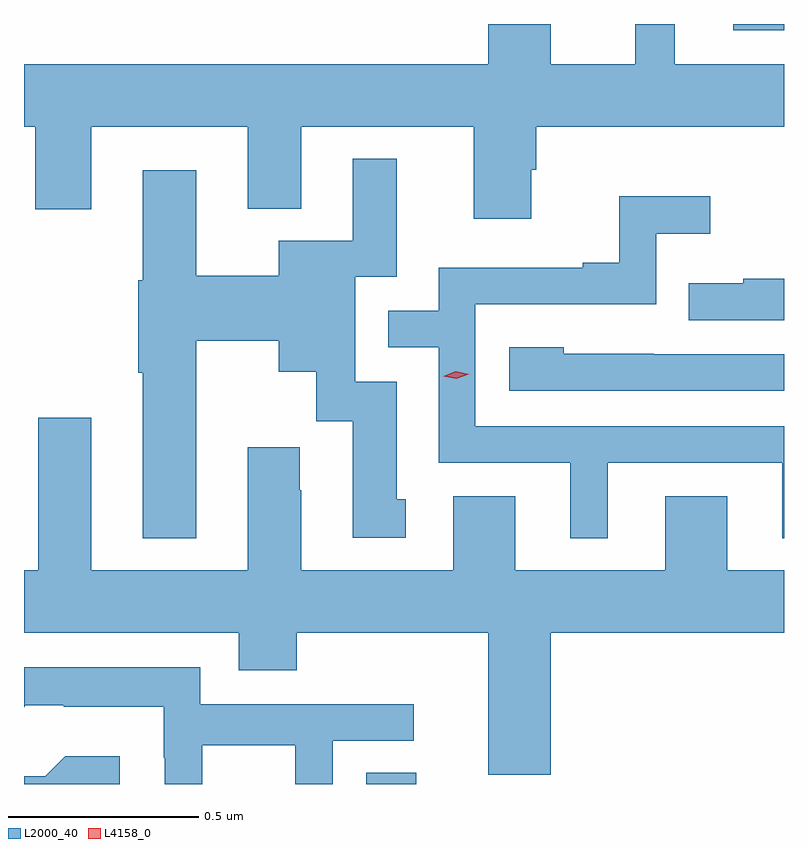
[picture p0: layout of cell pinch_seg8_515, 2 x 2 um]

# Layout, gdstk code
import gdstk
lib = gdstk.Library(unit=1e-6, precision=1e-09)
def R(c, l, rs):  # rectangles x0, y0, x1, y1
    for r in rs: c.add(gdstk.rectangle(r[:2], r[2:], *l))
def P(c, l, *ps):  # polygons
    for p in ps: c.add(gdstk.Polygon(p, *l))
L2000_40 = (2000, 40)
L4158_0 = (4158, 0)

pinch_seg8_515 = lib.new_cell('pinch_seg8_515')
R(pinch_seg8_515, L2000_40, [(224.627,1116.102,224.758,1116.131), (225.593,1118.085,225.726,1118.102)])
P(pinch_seg8_515, L2000_40, [(225.061,1117.719),(225.074,1117.719),(225.074,1117.832),(225.726,1117.832),(225.726,1117.996),(225.439,1117.996),(225.439,1118.102),(225.335,1118.102),(225.335,1117.996),(225.112,1117.996),(225.112,1118.102),(224.948,1118.102),(224.948,1117.996),(223.726,1117.996),(223.726,1117.832),(223.756,1117.832),(223.756,1117.614),(223.903,1117.614),(223.903,1117.832),(224.315,1117.832),(224.315,1117.616),(224.455,1117.616),(224.455,1117.832),(224.909,1117.832),(224.909,1117.59),(225.061,1117.59)],
  [(224.179,1117.268),(224.396,1117.268),(224.396,1117.187),(224.495,1117.187),(224.495,1117.056),(224.591,1117.056),(224.591,1116.75),(224.731,1116.75),(224.731,1116.852),(224.707,1116.852),(224.707,1117.161),(224.598,1117.161),(224.598,1117.437),(224.707,1117.437),(224.707,1117.747),(224.591,1117.747),(224.591,1117.531),(224.396,1117.531),(224.396,1117.44),(224.179,1117.44),(224.179,1117.717),(224.039,1117.717),(224.039,1117.428),(224.027,1117.428),(224.027,1117.184),(224.039,1117.184),(224.039,1116.749),(224.179,1116.749)],
  [(225.262,1116.948),(225.722,1116.948),(225.722,1116.749),(225.726,1116.749),(225.726,1117.044),(224.913,1117.044),(224.913,1117.365),(225.39,1117.365),(225.39,1117.55),(225.532,1117.55),(225.532,1117.649),(225.292,1117.649),(225.292,1117.474),(225.197,1117.474),(225.197,1117.461),(224.817,1117.461),(224.817,1117.347),(224.684,1117.347),(224.684,1117.251),(224.817,1117.251),(224.817,1116.948),(225.164,1116.948),(225.164,1116.749),(225.262,1116.749)],
  [(225.726,1117.432),(225.619,1117.432),(225.619,1117.42),(225.475,1117.42),(225.475,1117.323),(225.726,1117.323)],
  [(225.726,1117.233),(225.383,1117.233),(225.383,1117.234),(225.147,1117.234),(225.147,1117.252),(225.003,1117.252),(225.003,1117.137),(225.726,1117.137)],
  [(225.112,1116.5),(225.726,1116.5),(225.726,1116.664),(225.577,1116.664),(225.577,1116.859),(225.413,1116.859),(225.413,1116.664),(225.019,1116.664),(225.019,1116.859),(224.855,1116.859),(224.855,1116.664),(224.455,1116.664),(224.455,1116.875),(224.452,1116.875),(224.452,1116.988),(224.315,1116.988),(224.315,1116.664),(223.903,1116.664),(223.903,1117.066),(223.763,1117.066),(223.763,1116.664),(223.726,1116.664),(223.726,1116.5),(224.291,1116.5),(224.291,1116.401),(224.444,1116.401),(224.444,1116.5),(224.948,1116.5),(224.948,1116.126),(225.112,1116.126)],
  [(224.195,1116.204),(224.44,1116.204),(224.44,1116.102),(224.538,1116.102),(224.538,1116.216),(224.752,1116.216),(224.752,1116.312),(224.19,1116.312),(224.19,1116.409),(223.726,1116.409),(223.726,1116.304),(223.731,1116.309),(223.831,1116.309),(223.831,1116.305),(224.094,1116.305),(224.094,1116.171),(224.096,1116.171),(224.096,1116.102),(224.195,1116.102)],
  [(223.978,1116.175),(223.834,1116.175),(223.782,1116.123),(223.726,1116.123),(223.726,1116.102),(223.978,1116.102)])
P(pinch_seg8_515, L4158_0, [(224.864,1117.168),(224.829,1117.175),(224.829,1117.175),(224.829,1117.175),(224.862,1117.188),(224.897,1117.18),(224.898,1117.18),(224.897,1117.18)])

lib.write_gds('pinch_seg8_515.gds')
